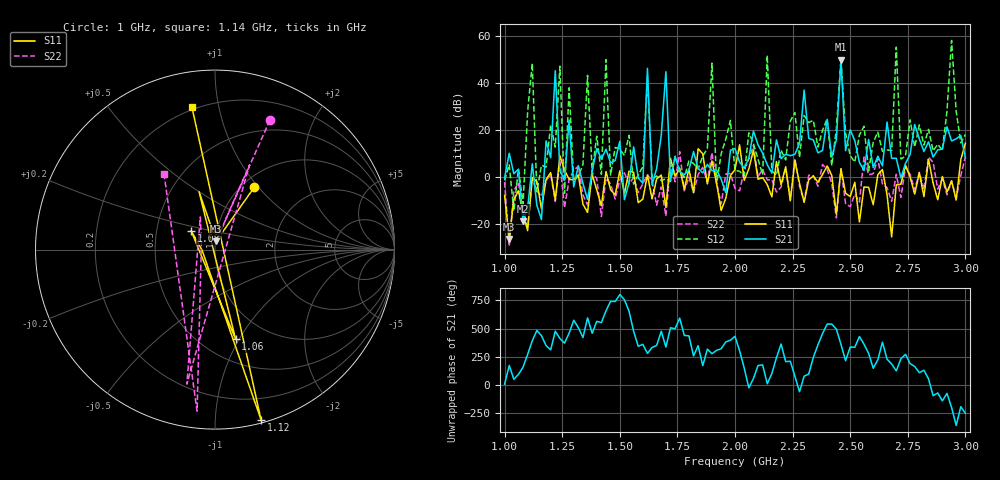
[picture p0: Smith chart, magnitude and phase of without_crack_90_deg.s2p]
# MHz S MA R 50
!  freq  S11  S21  S12  S22
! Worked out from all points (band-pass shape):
!   101 points, 1 GHz to 3 GHz, reference 50 ohm
!   highest |S21| = 50.05 dB at 2.46 GHz (marker M1); lowest = -18.9 dB at 1.08 GHz (marker M2)
!   |S21| within 3 dB of the highest: 2.458239 GHz to 2.461549 GHz (3.31 MHz wide, 0.135 % of centre)
!   lowest |S11| = -26.4 dB at 1.02 GHz (marker M3), VSWR 1.10, Z = 50.4 + j4.78 ohm
!   |S11| at or under -10 dB: 1.002 GHz to 1.039 GHz (37 MHz wide, 3.62 % of centre); 1.069 GHz to 1.111 GHz (42.57 MHz wide, 3.91 % of centre); 1.338 GHz to 1.366 GHz (28.71 MHz wide, 2.12 % of centre) (the widest 3 of 14)
!   |S22| runs from -29.4 to 13.5 dB; largest |S21 - S12| = 8.3e+02
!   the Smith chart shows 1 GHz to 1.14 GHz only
!   S11 on the Smith chart (normalised r, x): 1 GHz: 1.14, +0.95; 1.06 GHz: 0.71, -0.97; 1.08 GHz: 0.75, +0.16; 1.12 GHz: 0.02, -1.31; 1.14 GHz: 0.19, +0.83
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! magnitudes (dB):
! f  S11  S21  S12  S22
! 1 GHz  -7.8  -0.4  -1.4  -2.1
! 1.02 GHz  -26.4  10.2  5.3  -29.4
! 1.06 GHz  -5.8  3.4  3.5  -2.3
! 1.08 GHz  -15.4  -18.9  -11.5  -14.0
! 1.12 GHz  -0.2  5.7  48.5  -0.9
! 1.14 GHz  -1.9  -12.0  -6.2  -5.9
! 1.22 GHz  -9.7  45.4  12.8  -10.4
! 1.34 GHz  -11.6  -2.7  5.4  -7.6
! 1.44 GHz  2.4  11.9  50.1  -0.5
! 1.46 GHz  -5.3  6.1  0.9  -2.9
! 1.6 GHz  -9.4  -2.6  4.5  -2.8
! 1.62 GHz  1.0  46.4  43.2  1.1
! 1.68 GHz  0.9  17.9  -1.5  -4.2
! 1.9 GHz  6.9  2.8  48.6  10.4
! 1.92 GHz  -2.6  3.1  -3.0  -2.3
! 2 GHz  3.2  12.2  2.9  -4.8
! 2.34 GHz  0.4  15.8  24.2  0.6
! 2.46 GHz  3.6  50.1  50.3  3.6
! 2.68 GHz  -25.5  8.0  11.3  -10.3
! 2.7 GHz  -3.4  8.1  55.4  1.2
! 2.72 GHz  -3.0  -0.3  7.7  -8.7
! 3 GHz  14.4  8.2  18.1  8.6
